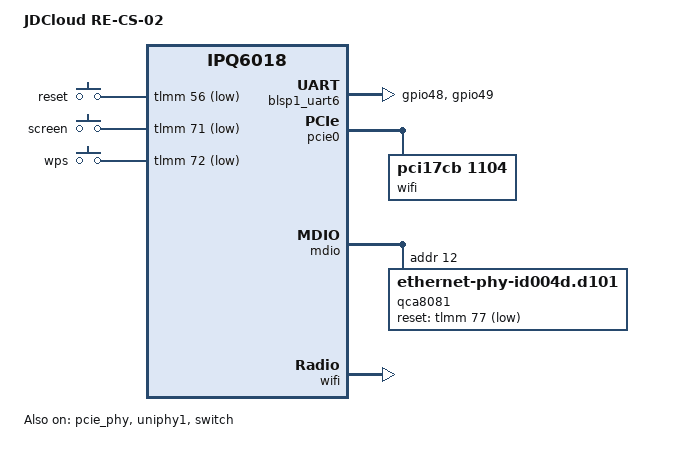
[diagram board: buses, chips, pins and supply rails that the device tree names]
// SPDX-License-Identifier: GPL-2.0-or-later OR MIT

/dts-v1/;

#include "ipq6010-re-cs.dtsi"

/ {
	model = "JDCloud RE-CS-02";
	compatible = "jdcloud,re-cs-02", "qcom,ipq6018";

	aliases {
		ethernet0 = &swport1;
		ethernet1 = &swport2;
		ethernet2 = &swport3;
		ethernet3 = &swport4;
		ethernet4 = &swport5;

		label-mac-device = &swport1;
		serial0 = &blsp1_uart3;
		serial1 = &blsp1_uart6;
	};

	keys {
		compatible = "gpio-keys";
		pinctrl-0 = <&button_pins>;
		pinctrl-names = "default";

		reset {
			label = "reset";
			linux,code = <KEY_RESTART>;
			gpios = <&tlmm 56 GPIO_ACTIVE_LOW>;
		};

		screen {
			label = "screen";
			linux,code = <BTN_1>;
			gpios = <&tlmm 71 GPIO_ACTIVE_LOW>;
		};

		wps {
			label = "wps";
			linux,code = <KEY_WPS_BUTTON>;
			gpios = <&tlmm 72 GPIO_ACTIVE_LOW>;
		};
	};
};

&tlmm {
	button_pins: button-pins {
		mux {
			pins = "gpio56", "gpio71", "gpio72";
			function = "gpio";
			drive-strength = <8>;
			bias-pull-up;
		};
	};

	btuart_pins: btuart-pins {
		mux {
			pins = "gpio48", "gpio49";
			function = "blsp5_uart";
			drive-strength = <8>;
			bias-pull-up;
		};
	};
};

&blsp1_uart6 {
	pinctrl-0 = <&btuart_pins>;
	pinctrl-names = "default";
	status = "okay";
};

&pcie_phy {
	status = "okay";
};

&pcie0 {
	perst-gpio = <&tlmm 53 GPIO_ACTIVE_LOW>;
	status = "okay";

	pcie@0 {
		wifi@0,0 {
			compatible = "pci17cb,1104";
			reg = <0x00010000 0 0 0 0>;
			qcom,ath11k-calibration-variant = "JDC-RE-CS-02";
		};
	};
};

&mdio {
	qca8081: ethernet-phy@12 {
		compatible = "ethernet-phy-id004d.d101";
		reg = <12>;
		reset-deassert-us = <10000>;
		reset-gpios = <&tlmm 77 GPIO_ACTIVE_LOW>;
	};
};

&uniphy1 {
	status = "okay";
};

&switch {
	status = "okay";

	ports {
		#address-cells = <1>;
		#size-cells = <0>;

		port@0 {
			reg = <0>;
			ethernet = <&edma>;
			phy-mode = "internal";

			fixed-link {
				speed = <1000>;
				full-duplex;
			};
		};

		swport1: port@1 {
			reg = <1>;
			label = "lan1";
			phy-handle = <&qca8075_0>;
			phy-mode = "psgmii";
			pcs-handle = <&uniphy0 0>;
		};

		swport2: port@2 {
			reg = <2>;
			label = "lan2";
			phy-handle = <&qca8075_1>;
			phy-mode = "psgmii";
			pcs-handle = <&uniphy0 1>;
		};

		swport3: port@3 {
			reg = <3>;
			label = "lan3";
			phy-handle = <&qca8075_2>;
			phy-mode = "psgmii";
			pcs-handle = <&uniphy0 2>;
		};

		swport4: port@4 {
			reg = <4>;
			label = "lan4";
			phy-handle = <&qca8075_3>;
			phy-mode = "psgmii";
			pcs-handle = <&uniphy0 3>;
		};

		swport5: port@5 {
			reg = <5>;
			label = "wan";
			phy-handle = <&qca8081>;
			phy-mode = "2500base-x";
			pcs-handle = <&uniphy1 0>;
		};
	};
};

&edma {
	status = "okay";
};

&wifi {
	status = "okay";

	qcom,ath11k-calibration-variant = "JDC-RE-CS-02";
};
